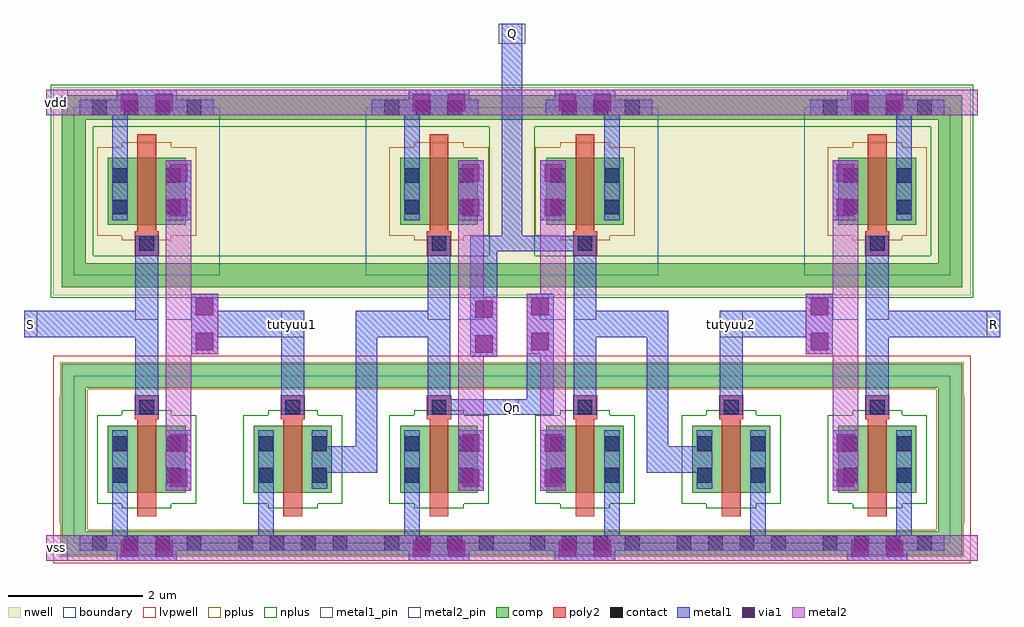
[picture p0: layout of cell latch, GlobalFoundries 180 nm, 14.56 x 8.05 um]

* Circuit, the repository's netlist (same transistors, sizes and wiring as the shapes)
* NGSPICE file created from latch.ext - technology: gf180mcuD

.subckt XM2_latch_x4 G D S
X0 S G D S pfet_03v3 ad=0.44p pd=2.88u as=0.44p ps=2.88u w=1u l=0.28u
.ends

.subckt XM1_latch_x4 G D S
X0 D G S S nfet_03v3 ad=0.44p pd=2.88u as=0.44p ps=2.88u w=1u l=0.28u
.ends

.subckt x4_latch in out VSUBS XM2_latch_x4_0/S
XXM2_latch_x4_0 in out XM2_latch_x4_0/S XM2_latch_x4
XXM1_latch_x4_0 in out VSUBS XM1_latch_x4
.ends

.subckt XM2_latch_x3 G D S
X0 S G D S pfet_03v3 ad=0.44p pd=2.88u as=0.44p ps=2.88u w=1u l=0.28u
.ends

.subckt XM1_latch_x3 G D S
X0 D G S S nfet_03v3 ad=0.44p pd=2.88u as=0.44p ps=2.88u w=1u l=0.28u
.ends

.subckt x3_latch in out XM2_latch_x3_0/S VSUBS
XXM2_latch_x3_0 in out XM2_latch_x3_0/S XM2_latch_x3
XXM1_latch_x3_0 in out VSUBS XM1_latch_x3
.ends

.subckt XM4_latch G D a_258_n1293# S
X0 S G D S nfet_03v3 ad=0.44p pd=2.88u as=0.44p ps=2.88u w=1u l=0.28u
.ends

.subckt XM2_latch_x2 G D S
X0 S G D S pfet_03v3 ad=0.44p pd=2.88u as=0.44p ps=2.88u w=1u l=0.28u
.ends

.subckt XM1_latch_x2 G D S
X0 D G S S nfet_03v3 ad=0.44p pd=2.88u as=0.44p ps=2.88u w=1u l=0.28u
.ends

.subckt x2_latch in out XM2_latch_x2_0/S VSUBS
XXM2_latch_x2_0 in out XM2_latch_x2_0/S XM2_latch_x2
XXM1_latch_x2_0 in out VSUBS XM1_latch_x2
.ends

.subckt XM3_latch G D a_n349_n1268# S
X0 D G S S nfet_03v3 ad=0.44p pd=2.88u as=0.44p ps=2.88u w=1u l=0.28u
.ends

.subckt XM2_latch_x1 G D S
X0 S G D S pfet_03v3 ad=0.44p pd=2.88u as=0.44p ps=2.88u w=1u l=0.28u
.ends

.subckt XM1_latch_x1 G D S a_n254_114#
X0 D G S S nfet_03v3 ad=0.44p pd=2.88u as=0.44p ps=2.88u w=1u l=0.28u
.ends

.subckt x1_latch in out VSUBS XM1_latch_x1_0/a_n254_114# XM2_latch_x1_0/S
XXM2_latch_x1_0 in out XM2_latch_x1_0/S XM2_latch_x1
XXM1_latch_x1_0 in out VSUBS XM1_latch_x1_0/a_n254_114# XM1_latch_x1
.ends

.subckt latch tutyuu1 tutyuu2 Qn Q S R vss vdd
Xx4_latch_0 S tutyuu1 vss vdd x4_latch
Xx3_latch_0 R tutyuu2 vdd vss x3_latch
XXM4_latch_0 tutyuu2 Q vss vss XM4_latch
Xx2_latch_0 Q Qn vdd vss x2_latch
XXM3_latch_0 tutyuu1 Qn vss vss XM3_latch
Xx1_latch_0 Qn Q vss vss vdd x1_latch
.ends

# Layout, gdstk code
from math import pi, radians
import gdstk
lib = gdstk.Library(unit=1e-6, precision=1e-09)
def R(c, l, rs):  # rectangles x0, y0, x1, y1
    for r in rs: c.add(gdstk.rectangle(r[:2], r[2:], *l))
def A(c, l, x, y, w, h, nx, ny, dx, dy):  # array of equal rectangles
    R(c, l, [(x+i*dx, y+j*dy, x+i*dx+w, y+j*dy+h) for i in range(nx) for j in range(ny)])
boundary = (0, 0)
nwell = (21, 0)
comp = (22, 0)
poly2 = (30, 0)
pplus = (31, 0)
nplus = (32, 0)
contact = (33, 0)
metal1 = (34, 0)
metal1_pin = (34, 10)
via1 = (35, 0)
metal2 = (36, 0)
metal2_pin = (36, 10)
lvpwell = (204, 0)

xm1_latch_x3 = lib.new_cell('XM1_latch_x3')
R(xm1_latch_x3, boundary, [(-1.09,-1.75,1.09,0.75)])
R(xm1_latch_x3, comp, [(-1.27,-1.93,1.27,-1.57), (-1.27,-1.57,-0.91,0.57), (-0.58,-1,0.58,0), (-1.27,0.57,1.27,0.93)])
R(xm1_latch_x3, poly2, [(-0.14,-1.35,0.14,0.1), (-0.18,0.1,0.18,0.46)])
R(xm1_latch_x3, pplus, [(-1.29,-1.95,1.29,-1.55), (-1.29,-1.55,-0.88,-1.445), (-1.3,-1.445,-0.88,0.445), (-1.29,0.445,-0.88,0.55), (-1.29,0.55,1.29,0.95)])
R(xm1_latch_x3, nplus, [(-0.37,-1.23,0.37,-1.16), (-0.74,-1.16,0.74,0.16), (-0.37,0.16,0.37,0.23)])
A(xm1_latch_x3, contact, -0.815, -1.86, 0.22, 0.22, 4, 1, 0.47, 0)
R(xm1_latch_x3, contact, [(-0.51,-0.845,-0.29,-0.625), (0.29,-0.845,0.51,-0.625), (-0.51,-0.375,-0.29,-0.155), (0.29,-0.375,0.51,-0.155), (-0.11,0.17,0.11,0.39)])
R(xm1_latch_x3, metal1, [(-1,-1.865,1.09,-1.635), (-0.515,-1.75,-0.285,-0.065), (0.285,-0.935,0.515,-0.065), (-0.17,0.165,0.17,0.395)])
R(xm1_latch_x3, lvpwell, [(-1.39,-2.05,1.39,1.05)])
xm1_latch_x3.add(gdstk.Label('D', (0.48,-0.4), layer=34, texttype=0))
xm1_latch_x3.add(gdstk.Label('S', (-0.48,-0.4), layer=34, texttype=0))
xm1_latch_x3.add(gdstk.Label('G', (0,-0.4), layer=30, texttype=10))

xm2_latch_x3 = lib.new_cell('XM2_latch_x3')
R(xm2_latch_x3, boundary, [(-1.09,-1.25,1.09,1.25)])
R(xm2_latch_x3, nwell, [(-2.3,-1.55,1.39,1.55)])
R(xm2_latch_x3, comp, [(-2.18,-1.43,1.27,-1.07), (0.91,-1.07,1.27,1.07), (-0.58,-0.5,0.58,0.5), (-2.18,1.07,1.27,1.43)])
R(xm2_latch_x3, poly2, [(-0.14,-0.85,0.14,0.6), (-0.18,0.6,0.18,0.96)])
R(xm2_latch_x3, pplus, [(-0.37,-0.73,0.37,-0.66), (-0.74,-0.66,0.74,0.66), (-0.37,0.66,0.37,0.73)])
R(xm2_latch_x3, nplus, [(-2.34,-1.59,1.43,-0.96), (0.8,-0.96,1.43,0.96), (-2.34,0.96,1.43,1.59)])
A(xm2_latch_x3, contact, -0.815, -1.36, 0.22, 0.22, 4, 1, 0.47, 0)
R(xm2_latch_x3, contact, [(-0.51,-0.345,-0.29,-0.125), (0.29,-0.345,0.51,-0.125), (-0.51,0.125,-0.29,0.345), (0.29,0.125,0.51,0.345), (-0.11,0.67,0.11,0.89)])
R(xm2_latch_x3, metal1, [(-1,-1.365,1,-1.135), (0.285,-1.25,0.515,0.435), (-0.515,-0.435,-0.285,0.435), (-0.17,0.665,0.17,0.895)])
xm2_latch_x3.add(gdstk.Label('D', (-0.47,0.05), layer=34, texttype=0))
xm2_latch_x3.add(gdstk.Label('S', (0.49,0.05), layer=34, texttype=0))
xm2_latch_x3.add(gdstk.Label('G', (0.01,0.05), layer=30, texttype=10))

x3_latch = lib.new_cell('x3_latch')
R(x3_latch, metal1, [(-0.45,-5.515,0.45,-5.135), (0.285,-4.465,0.665,-3.565), (-0.17,-3.335,0.17,-0.665), (0.285,-0.435,0.665,0.465), (-0.45,1.135,0.45,1.515)])
R(x3_latch, metal1_pin, [(-0.17,-1.92,0.17,-1.58)])
R(x3_latch, via1, [(-0.39,-5.455,-0.13,-5.195), (0.13,-5.455,0.39,-5.195), (0.345,-4.405,0.605,-4.145), (0.345,-3.885,0.605,-3.625), (0.345,-0.375,0.605,-0.115), (0.345,0.145,0.605,0.405), (-0.39,1.195,-0.13,1.455), (0.13,1.195,0.39,1.455)])
R(x3_latch, metal2, [(-1.5,-5.515,2.15,-5.135), (-0.45,-5.515,0.45,-5.135), (0.285,-4.465,0.665,-3.565), (0.285,-4.465,0.665,0.465), (0.285,-0.435,0.665,0.465), (-1.5,1.135,2.18,1.515), (-0.45,1.135,0.45,1.515)])
R(x3_latch, metal2_pin, [(0.285,-1.92,0.665,-1.58)])
x3_latch.add(gdstk.Reference(xm1_latch_x3, (0,-3.5)))
x3_latch.add(gdstk.Reference(xm2_latch_x3, (0,0), rotation=pi))
x3_latch.add(gdstk.Label('in', (-0.001,-1.737), layer=34, texttype=10))
x3_latch.add(gdstk.Label('out', (0.47,-1.748), layer=36, texttype=10))

xm1_latch_x4 = lib.new_cell('XM1_latch_x4')
R(xm1_latch_x4, boundary, [(-1.09,-1.75,1.09,0.75)])
R(xm1_latch_x4, comp, [(-1.27,-1.93,1.27,-1.57), (-1.27,-1.57,-0.91,0.57), (-0.58,-1,0.58,0), (-1.27,0.57,1.27,0.93)])
R(xm1_latch_x4, poly2, [(-0.14,-1.35,0.14,0.1), (-0.18,0.1,0.18,0.46)])
R(xm1_latch_x4, pplus, [(-1.29,-1.95,1.29,-1.55), (-1.29,-1.55,-0.88,-1.445), (-1.3,-1.445,-0.88,0.445), (-1.29,0.445,-0.88,0.55), (-1.29,0.55,1.29,0.95)])
R(xm1_latch_x4, nplus, [(-0.37,-1.23,0.37,-1.16), (-0.74,-1.16,0.74,0.16), (-0.37,0.16,0.37,0.23)])
A(xm1_latch_x4, contact, -0.815, -1.86, 0.22, 0.22, 4, 1, 0.47, 0)
R(xm1_latch_x4, contact, [(-0.51,-0.845,-0.29,-0.625), (0.29,-0.845,0.51,-0.625), (-0.51,-0.375,-0.29,-0.155), (0.29,-0.375,0.51,-0.155), (-0.11,0.17,0.11,0.39)])
R(xm1_latch_x4, metal1, [(-1,-1.865,1.09,-1.635), (-0.515,-1.75,-0.285,-0.065), (0.285,-0.935,0.515,-0.065), (-0.17,0.165,0.17,0.395)])
R(xm1_latch_x4, lvpwell, [(-1.39,-2.05,1.39,1.05)])
xm1_latch_x4.add(gdstk.Label('D', (0.4,-0.48), layer=34, texttype=0))
xm1_latch_x4.add(gdstk.Label('S', (-0.4,-0.48), layer=34, texttype=0))
xm1_latch_x4.add(gdstk.Label('G', (0,-0.48), layer=30, texttype=10))

xm2_latch_x4 = lib.new_cell('XM2_latch_x4')
R(xm2_latch_x4, boundary, [(-1.09,-1.25,1.09,1.25)])
R(xm2_latch_x4, nwell, [(-2.3,-1.55,1.39,1.55)])
R(xm2_latch_x4, comp, [(-2.18,-1.43,1.27,-1.07), (0.91,-1.07,1.27,1.07), (-0.58,-0.5,0.58,0.5), (-2.18,1.07,1.27,1.43)])
R(xm2_latch_x4, poly2, [(-0.14,-0.85,0.14,0.6), (-0.18,0.6,0.18,0.96)])
R(xm2_latch_x4, pplus, [(-0.37,-0.73,0.37,-0.66), (-0.74,-0.66,0.74,0.66), (-0.37,0.66,0.37,0.73)])
R(xm2_latch_x4, nplus, [(-2.34,-1.59,1.43,-0.96), (0.8,-0.96,1.43,0.96), (-2.34,0.96,1.43,1.59)])
A(xm2_latch_x4, contact, -0.815, -1.36, 0.22, 0.22, 4, 1, 0.47, 0)
R(xm2_latch_x4, contact, [(-0.51,-0.345,-0.29,-0.125), (0.29,-0.345,0.51,-0.125), (-0.51,0.125,-0.29,0.345), (0.29,0.125,0.51,0.345), (-0.11,0.67,0.11,0.89)])
R(xm2_latch_x4, metal1, [(-1,-1.365,1,-1.135), (0.285,-1.25,0.515,0.435), (-0.515,-0.435,-0.285,0.435), (-0.17,0.665,0.17,0.895)])
xm2_latch_x4.add(gdstk.Label('D', (-0.481,0), layer=34, texttype=0))
xm2_latch_x4.add(gdstk.Label('S', (0.479,0), layer=34, texttype=0))
xm2_latch_x4.add(gdstk.Label('G', (-0.001,0), layer=30, texttype=10))

x4_latch = lib.new_cell('x4_latch')
R(x4_latch, metal1, [(-0.45,-5.515,0.45,-5.135), (0.285,-4.465,0.665,-3.565), (-0.17,-3.335,0.17,-0.665), (0.285,-0.435,0.665,0.465), (-0.45,1.135,0.45,1.515)])
R(x4_latch, metal1_pin, [(-0.17,-1.92,0.17,-1.58)])
R(x4_latch, via1, [(-0.39,-5.455,-0.13,-5.195), (0.13,-5.455,0.39,-5.195), (0.345,-4.405,0.605,-4.145), (0.345,-3.885,0.605,-3.625), (0.345,-0.375,0.605,-0.115), (0.345,0.145,0.605,0.405), (-0.39,1.195,-0.13,1.455), (0.13,1.195,0.39,1.455)])
R(x4_latch, metal2, [(-1.5,-5.515,2.17,-5.135), (-0.45,-5.515,0.45,-5.135), (0.285,-4.465,0.665,-3.565), (0.285,-4.465,0.665,0.465), (0.285,-0.435,0.665,0.465), (-1.5,1.135,2.18,1.515), (-0.45,1.135,0.45,1.515)])
R(x4_latch, metal2_pin, [(0.285,-1.92,0.665,-1.58)])
x4_latch.add(gdstk.Reference(xm1_latch_x4, (0,-3.5)))
x4_latch.add(gdstk.Reference(xm2_latch_x4, (0,0), rotation=pi))
x4_latch.add(gdstk.Label('in', (-0.001,-1.737), layer=34, texttype=10))
x4_latch.add(gdstk.Label('out', (0.47,-1.748), layer=36, texttype=10))

xm1_latch_x1 = lib.new_cell('XM1_latch_x1')
R(xm1_latch_x1, boundary, [(-1.09,-1.75,1.09,0.75)])
R(xm1_latch_x1, comp, [(-1.27,-1.93,1.27,-1.57), (-0.58,-1,0.58,0), (-1.27,0.57,1.27,0.93)])
R(xm1_latch_x1, poly2, [(-0.14,-1.35,0.14,0.1), (-0.18,0.1,0.18,0.46)])
R(xm1_latch_x1, pplus, [(-1.29,-1.95,1.29,-1.55), (-1.29,0.55,1.29,0.95)])
R(xm1_latch_x1, nplus, [(-0.37,-1.23,0.37,-1.16), (-0.74,-1.16,0.74,0.16), (-0.37,0.16,0.37,0.23)])
A(xm1_latch_x1, contact, -0.815, -1.86, 0.22, 0.22, 4, 1, 0.47, 0)
R(xm1_latch_x1, contact, [(-0.51,-0.845,-0.29,-0.625), (0.29,-0.845,0.51,-0.625), (-0.51,-0.375,-0.29,-0.155), (0.29,-0.375,0.51,-0.155), (-0.11,0.17,0.11,0.39)])
R(xm1_latch_x1, metal1, [(-1.09,-1.865,1.09,-1.635), (-0.515,-1.75,-0.285,-0.065), (0.285,-0.935,0.515,-0.065), (-0.17,0.165,0.17,0.395)])
R(xm1_latch_x1, lvpwell, [(-1.39,-2.05,1.39,1.05)])
xm1_latch_x1.add(gdstk.Label('D', (0.48,-0.4), layer=34, texttype=0))
xm1_latch_x1.add(gdstk.Label('S', (-0.48,-0.4), layer=34, texttype=0))
xm1_latch_x1.add(gdstk.Label('G', (0,-0.4), layer=30, texttype=10))

xm2_latch_x1 = lib.new_cell('XM2_latch_x1')
R(xm2_latch_x1, boundary, [(-1.09,-1.25,1.09,1.25)])
R(xm2_latch_x1, nwell, [(-1.39,-1.55,2.3,1.55)])
R(xm2_latch_x1, comp, [(-1.27,-1.43,2.18,-1.07), (-0.58,-0.5,0.58,0.5), (-1.27,1.07,2.18,1.43)])
R(xm2_latch_x1, poly2, [(-0.14,-0.85,0.14,0.6), (-0.18,0.6,0.18,0.96)])
R(xm2_latch_x1, pplus, [(-0.37,-0.73,0.37,-0.66), (-0.74,-0.66,0.74,0.66), (-0.37,0.66,0.37,0.73)])
R(xm2_latch_x1, nplus, [(-1.43,-1.59,2.34,-0.96), (-1.43,-0.96,-0.8,0.96), (-1.43,0.96,2.34,1.59)])
A(xm2_latch_x1, contact, -0.345, -1.36, 0.22, 0.22, 3, 1, 0.47, 0)
R(xm2_latch_x1, contact, [(-0.51,-0.345,-0.29,-0.125), (0.29,-0.345,0.51,-0.125), (-0.51,0.125,-0.29,0.345), (0.29,0.125,0.51,0.345), (-0.11,0.67,0.11,0.89)])
R(xm2_latch_x1, metal1, [(-0.59,-1.365,1,-1.135), (0.285,-1.25,0.515,0.435), (-0.515,-0.435,-0.285,0.435), (-0.17,0.665,0.17,0.895)])
xm2_latch_x1.add(gdstk.Label('D', (-0.46,0), layer=34, texttype=0))
xm2_latch_x1.add(gdstk.Label('S', (0.5,0), layer=34, texttype=0))
xm2_latch_x1.add(gdstk.Label('G', (0.02,0), layer=30, texttype=10))

x1_latch = lib.new_cell('x1_latch')
R(x1_latch, metal1, [(-0.45,-5.515,0.45,-5.135), (0.285,-4.465,0.665,-3.565), (-0.17,-3.335,0.17,-0.665), (0.285,-0.435,0.665,0.465), (-0.45,1.135,0.45,1.515)])
R(x1_latch, metal1_pin, [(-0.17,-1.92,0.17,-1.58)])
R(x1_latch, via1, [(-0.39,-5.455,-0.13,-5.195), (0.13,-5.455,0.39,-5.195), (0.345,-4.405,0.605,-4.145), (0.345,-3.885,0.605,-3.625), (0.345,-0.375,0.605,-0.115), (0.345,0.145,0.605,0.405), (-0.39,1.195,-0.13,1.455), (0.13,1.195,0.39,1.455)])
R(x1_latch, metal2, [(-2.19,-5.515,1.5,-5.135), (-0.45,-5.515,0.45,-5.135), (0.285,-4.465,0.665,-3.565), (0.285,-4.465,0.665,0.465), (0.285,-0.435,0.665,0.465), (-2.18,1.135,1.5,1.515), (-0.45,1.135,0.45,1.515)])
R(x1_latch, metal2_pin, [(0.285,-1.92,0.665,-1.58)])
x1_latch.add(gdstk.Reference(xm1_latch_x1, (0,-3.5)))
x1_latch.add(gdstk.Reference(xm2_latch_x1, (0,0), rotation=pi))
x1_latch.add(gdstk.Label('in', (-0.001,-1.737), layer=34, texttype=10))
x1_latch.add(gdstk.Label('out', (0.47,-1.748), layer=36, texttype=10))

xm1_latch_x2 = lib.new_cell('XM1_latch_x2')
R(xm1_latch_x2, boundary, [(-1.09,-1.75,1.09,0.75)])
R(xm1_latch_x2, comp, [(-1.27,-1.93,1.27,-1.57), (-0.58,-1,0.58,0), (-1.27,0.57,1.27,0.93)])
R(xm1_latch_x2, poly2, [(-0.14,-1.35,0.14,0.1), (-0.18,0.1,0.18,0.46)])
R(xm1_latch_x2, pplus, [(-1.29,-1.95,1.29,-1.55), (-1.29,0.55,1.29,0.95)])
R(xm1_latch_x2, nplus, [(-0.37,-1.23,0.37,-1.16), (-0.74,-1.16,0.74,0.16), (-0.37,0.16,0.37,0.23)])
A(xm1_latch_x2, contact, -0.815, -1.86, 0.22, 0.22, 4, 1, 0.47, 0)
R(xm1_latch_x2, contact, [(-0.51,-0.845,-0.29,-0.625), (0.29,-0.845,0.51,-0.625), (-0.51,-0.375,-0.29,-0.155), (0.29,-0.375,0.51,-0.155), (-0.11,0.17,0.11,0.39)])
R(xm1_latch_x2, metal1, [(-1.09,-1.865,1.09,-1.635), (-0.515,-1.75,-0.285,-0.065), (0.285,-0.935,0.515,-0.065), (-0.17,0.165,0.17,0.395)])
R(xm1_latch_x2, lvpwell, [(-1.39,-2.05,1.39,1.05)])
xm1_latch_x2.add(gdstk.Label('D', (0.48,-0.4), layer=34, texttype=0))
xm1_latch_x2.add(gdstk.Label('S', (-0.48,-0.4), layer=34, texttype=0))
xm1_latch_x2.add(gdstk.Label('G', (0,-0.4), layer=30, texttype=10))

xm2_latch_x2 = lib.new_cell('XM2_latch_x2')
R(xm2_latch_x2, boundary, [(-1.09,-1.25,1.09,1.25)])
R(xm2_latch_x2, nwell, [(-1.39,-1.55,2.3,1.55)])
R(xm2_latch_x2, comp, [(-1.27,-1.43,2.18,-1.07), (-0.58,-0.5,0.58,0.5), (-1.27,1.07,2.18,1.43)])
R(xm2_latch_x2, poly2, [(-0.14,-0.85,0.14,0.6), (-0.18,0.6,0.18,0.96)])
R(xm2_latch_x2, pplus, [(-0.37,-0.73,0.37,-0.66), (-0.74,-0.66,0.74,0.66), (-0.37,0.66,0.37,0.73)])
R(xm2_latch_x2, nplus, [(-1.43,-1.59,2.34,-0.96), (-1.43,-0.96,-0.8,0.96), (-1.43,0.96,2.34,1.59)])
A(xm2_latch_x2, contact, -0.345, -1.36, 0.22, 0.22, 3, 1, 0.47, 0)
R(xm2_latch_x2, contact, [(-0.51,-0.345,-0.29,-0.125), (0.29,-0.345,0.51,-0.125), (-0.51,0.125,-0.29,0.345), (0.29,0.125,0.51,0.345), (-0.11,0.67,0.11,0.89)])
R(xm2_latch_x2, metal1, [(-0.59,-1.365,1,-1.135), (0.285,-1.25,0.515,0.435), (-0.515,-0.435,-0.285,0.435), (-0.17,0.665,0.17,0.895)])
xm2_latch_x2.add(gdstk.Label('D', (-0.47,0.025), layer=34, texttype=0))
xm2_latch_x2.add(gdstk.Label('S', (0.49,0.025), layer=34, texttype=0))
xm2_latch_x2.add(gdstk.Label('G', (0.01,0.025), layer=30, texttype=10))

x2_latch = lib.new_cell('x2_latch')
R(x2_latch, metal1, [(-0.45,-5.515,0.45,-5.135), (0.285,-4.465,0.665,-3.565), (-0.17,-3.335,0.17,-0.665), (0.285,-0.435,0.665,0.465), (-0.45,1.135,0.45,1.515)])
R(x2_latch, metal1_pin, [(-0.17,-1.92,0.17,-1.58)])
R(x2_latch, via1, [(-0.39,-5.455,-0.13,-5.195), (0.13,-5.455,0.39,-5.195), (0.345,-4.405,0.605,-4.145), (0.345,-3.885,0.605,-3.625), (0.345,-0.375,0.605,-0.115), (0.345,0.145,0.605,0.405), (-0.39,1.195,-0.13,1.455), (0.13,1.195,0.39,1.455)])
R(x2_latch, metal2, [(-2.21,-5.515,1.5,-5.135), (-0.45,-5.515,0.45,-5.135), (0.285,-4.465,0.665,-3.565), (0.285,-4.465,0.665,0.465), (0.285,-0.435,0.665,0.465), (-2.18,1.135,1.5,1.515), (-0.45,1.135,0.45,1.515)])
R(x2_latch, metal2_pin, [(0.285,-1.92,0.665,-1.58)])
x2_latch.add(gdstk.Reference(xm1_latch_x2, (0,-3.5)))
x2_latch.add(gdstk.Reference(xm2_latch_x2, (0,0), rotation=pi))
x2_latch.add(gdstk.Label('in', (-0.001,-1.737), layer=34, texttype=10))
x2_latch.add(gdstk.Label('out', (0.47,-1.748), layer=36, texttype=10))

xm3_latch = lib.new_cell('XM3_latch')
R(xm3_latch, boundary, [(-1.567,-8.66,0.613,-6.16)])
R(xm3_latch, comp, [(-1.747,-8.84,0.793,-8.48), (-1.057,-7.91,0.103,-6.91), (-1.747,-6.34,0.793,-5.98)])
R(xm3_latch, poly2, [(-0.617,-8.26,-0.337,-6.81), (-0.657,-6.81,-0.297,-6.45)])
R(xm3_latch, pplus, [(-1.767,-8.86,0.813,-8.46), (-1.767,-6.36,0.813,-5.96)])
R(xm3_latch, nplus, [(-0.847,-8.14,-0.107,-8.07), (-1.217,-8.07,0.263,-6.75), (-0.847,-6.75,-0.107,-6.68)])
A(xm3_latch, contact, -1.292, -8.77, 0.22, 0.22, 4, 1, 0.47, 0)
R(xm3_latch, contact, [(-0.987,-7.755,-0.767,-7.535), (-0.187,-7.755,0.033,-7.535), (-0.987,-7.285,-0.767,-7.065), (-0.187,-7.285,0.033,-7.065), (-0.587,-6.74,-0.367,-6.52)])
R(xm3_latch, metal1, [(-1.567,-8.775,0.613,-8.545), (-0.992,-8.775,-0.762,-6.975), (-0.192,-7.845,0.038,-6.975), (-0.647,-6.745,-0.307,-6.515)])
R(xm3_latch, lvpwell, [(-1.867,-8.96,0.913,-5.86)])
xm3_latch.add(gdstk.Label('D', (0,-7.375), layer=34, texttype=0))
xm3_latch.add(gdstk.Label('S', (-0.96,-7.375), layer=34, texttype=0))
xm3_latch.add(gdstk.Label('G', (-0.48,-7.375), layer=30, texttype=10))

xm4_latch = lib.new_cell('XM4_latch')
R(xm4_latch, boundary, [(1.469,-8.785,3.649,-6.285)])
R(xm4_latch, comp, [(1.289,-8.965,3.829,-8.605), (1.979,-8.035,3.139,-7.035), (1.289,-6.465,3.829,-6.105)])
R(xm4_latch, poly2, [(2.419,-8.385,2.699,-6.935), (2.379,-6.935,2.739,-6.575)])
R(xm4_latch, pplus, [(1.269,-8.985,3.849,-8.585), (1.269,-6.485,3.849,-6.085)])
R(xm4_latch, nplus, [(2.189,-8.265,2.929,-8.195), (1.819,-8.195,3.299,-6.875), (2.189,-6.875,2.929,-6.805)])
A(xm4_latch, contact, 1.744, -8.895, 0.22, 0.22, 4, 1, 0.47, 0)
R(xm4_latch, contact, [(2.049,-7.88,2.269,-7.66), (2.849,-7.88,3.069,-7.66), (2.049,-7.41,2.269,-7.19), (2.849,-7.41,3.069,-7.19), (2.449,-6.865,2.669,-6.645)])
R(xm4_latch, metal1, [(1.469,-8.9,3.649,-8.67), (2.844,-8.9,3.074,-7.1), (2.044,-7.97,2.274,-7.1), (2.389,-6.87,2.729,-6.64)])
R(xm4_latch, lvpwell, [(1.169,-9.085,3.949,-5.985)])
xm4_latch.add(gdstk.Label('D', (2.085,-7.52), layer=34, texttype=0))
xm4_latch.add(gdstk.Label('S', (3.045,-7.52), layer=34, texttype=0))
xm4_latch.add(gdstk.Label('G', (2.565,-7.52), layer=30, texttype=10))

latch = lib.new_cell('latch')
R(latch, metal1, [(-0.485,-4.2,0.49,-3.8), (0.17,-4.2,0.49,-1.78), (4.51,-4.2,5.485,-3.8), (4.51,-4.2,4.83,-1.78), (-0.94,-3.335,-0.6,-1.78), (1.24,-3.335,3.12,-3.105), (2.72,-3.335,3.12,-1.53), (5.6,-3.335,5.94,-1.78), (1.88,-2.47,2.28,-1.57), (1.88,-2.47,2.28,-0.665), (-2.285,-2.43,-1.885,-1.53), (2.72,-2.43,3.12,-1.53), (6.885,-2.43,7.285,-1.53), (-4.78,-2.18,-2.78,-1.78), (-2.285,-2.18,-0.6,-1.78), (0.17,-2.18,1.58,-1.78), (3.42,-2.18,4.83,-1.78), (5.6,-2.18,7.285,-1.78), (7.78,-2.18,9.78,-1.78), (1.88,-0.895,3.76,-0.665), (2.35,-0.895,2.65,2.5)])
R(latch, metal1_pin, [(2.4,-3.335,2.6,-3.105), (-4.78,-2.18,-4.58,-1.78), (-0.94,-2.18,-0.6,-1.78), (5.6,-2.18,5.94,-1.78), (9.58,-2.18,9.78,-1.78), (2.3,2.2,2.7,2.5)])
R(latch, via1, [(1.95,-2.41,2.21,-2.15), (-2.215,-2.37,-1.955,-2.11), (2.79,-2.37,3.05,-2.11), (6.955,-2.37,7.215,-2.11), (1.95,-1.89,2.21,-1.63), (-2.215,-1.85,-1.955,-1.59), (2.79,-1.85,3.05,-1.59), (6.955,-1.85,7.215,-1.59)])
R(latch, metal2, [(1.88,-2.47,2.28,-1.57), (-2.285,-2.43,-1.885,-1.53), (2.72,-2.43,3.12,-1.53), (6.885,-2.43,7.285,-1.53)])
R(latch, metal2_pin, [(-4.45,-5.515,-4.125,-5.135), (-4.45,1.135,-4.125,1.515)])
latch.add(gdstk.Reference(x3_latch, (7.95,0), rotation=pi, x_reflection=True))
latch.add(gdstk.Reference(x4_latch, (-2.95,0)))
latch.add(gdstk.Reference(x1_latch, (1.41,0)))
latch.add(gdstk.Reference(x2_latch, (3.59,0), rotation=pi, x_reflection=True))
latch.add(gdstk.Reference(xm3_latch, (-0.293,3.41)))
latch.add(gdstk.Reference(xm4_latch, (3.211,3.535)))
latch.add(gdstk.Label('tutyuu1', (-0.77,-1.99), layer=34, texttype=10))
latch.add(gdstk.Label('tutyuu2', (5.77,-1.99), layer=34, texttype=10))
latch.add(gdstk.Label('Qn', (2.5,-3.223), layer=34, texttype=10))
latch.add(gdstk.Label('Q', (2.5,2.35), layer=34, texttype=10))
latch.add(gdstk.Label('S', (-4.68,-1.98), layer=34, texttype=10))
latch.add(gdstk.Label('R', (9.68,-1.98), layer=34, texttype=10))
latch.add(gdstk.Label('vss', (-4.3,-5.32), layer=36, texttype=10))
latch.add(gdstk.Label('vdd', (-4.3,1.33), layer=36, texttype=10))

lib.write_gds('latch.gds')
